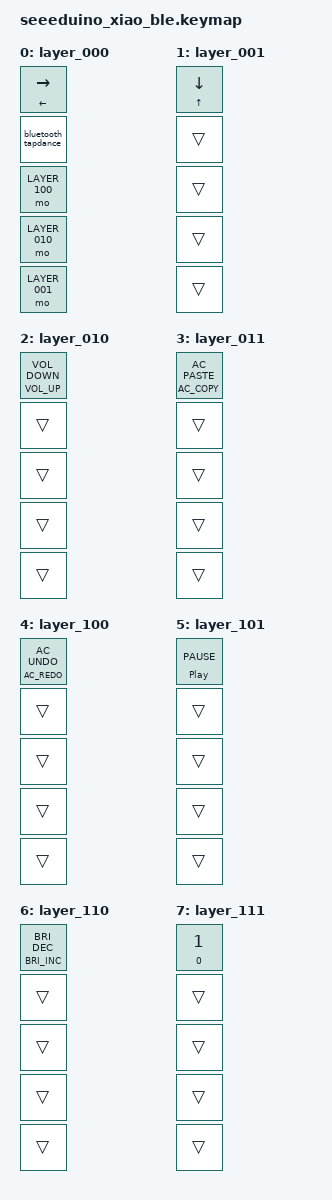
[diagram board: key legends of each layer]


#include <behaviors.dtsi>
#include <dt-bindings/zmk/keys.h>
#include <dt-bindings/zmk/bt.h>
#include <dt-bindings/zmk/matrix_transform.h>

// Mode layer numbers
#define LAYER_000 0
#define LAYER_001 1
#define LAYER_010 2
#define LAYER_011 3
#define LAYER_100 4
#define LAYER_101 5
#define LAYER_110 6
#define LAYER_111 7

// Pinout
#define GPIO_PEDAL 10
#define GPIO_BLUETOOTH 0
#define GPIO_LAYER1 9
#define GPIO_LAYER2 8
#define GPIO_LAYER3 7

// Key bindings for different modes
#define L0_HOLD     LEFT_ARROW
#define L0_TAP      RIGHT_ARROW

#define L1_HOLD     UP_ARROW
#define L1_TAP      DOWN_ARROW

#define L2_HOLD     C_VOLUME_UP
#define L2_TAP      C_VOLUME_DOWN

#define L3_HOLD     C_AC_COPY
#define L3_TAP      C_AC_PASTE

#define L4_HOLD     C_AC_REDO
#define L4_TAP      C_AC_UNDO

#define L5_HOLD     C_PLAY_PAUSE
#define L5_TAP      C_PAUSE

#define L6_HOLD     C_BRIGHTNESS_INC
#define L6_TAP      C_BRIGHTNESS_DEC

#define L7_HOLD     N0
#define L7_TAP      N1


&mt {
    tapping-term-ms = <300>;
};

/ {

    macros {
        // Simple macros that call BT_CLR and BT_SEL 0 respectively, so they can be used in a hold-tap
        macro_bt_clr: macro_bt_clr {
            label = "ZM_macro_bt_clr";
            compatible = "zmk,behavior-macro";
            #binding-cells = <0>;
            bindings = <&bt BT_CLR>;
        };
        macro_bt_sel0: macro_bt_sel0 {
            label = "ZM_macro_bt_sel0";
            compatible = "zmk,behavior-macro";
            #binding-cells = <0>;
            bindings = <&bt BT_SEL 0>;
        };
    };

    behaviors {
        // bt_ht: Hold bluetooth button to clear profile, tap to select profile 0
        bt_ht: bluetooth_hold_tap {
           compatible = "zmk,behavior-hold-tap";
           label = "BLUETOOTH_HOLD_TAP";
           #binding-cells = <2>;
           tapping-term-ms = <2000>;
           bindings = <&macro_bt_clr &macro_bt_sel0>;
        };
        // bluetooth_tapdance: number of taps = select profile. hold button = clear profile
        bluetooth_tapdance: tap_dance_mod_tap {
            compatible = "zmk,behavior-tap-dance";
            label = "TAP_DANCE_MOD_TAP";
            #binding-cells = <0>;
            tapping-term-ms = <200>;
            bindings = <&bt_ht 0 0>, <&bt BT_SEL 1>, <&bt BT_SEL 2>, <&bt BT_SEL 3>, <&bt BT_SEL 4>;
        };
    };

    chosen {
        zmk,kscan = &kscan0;
        zmk,matrix_transform = &default_transform;
    };

    kscan0: kscan_0 {
        compatible = "zmk,kscan-gpio-direct";
        label = "KSCAN0";

        input-gpios = <
            &xiao_d GPIO_PEDAL (GPIO_ACTIVE_LOW | GPIO_PULL_UP) 
            &xiao_d GPIO_BLUETOOTH (GPIO_ACTIVE_LOW | GPIO_PULL_UP)
            &xiao_d GPIO_LAYER1 (GPIO_ACTIVE_LOW | GPIO_PULL_UP) 
            &xiao_d GPIO_LAYER2 (GPIO_ACTIVE_LOW | GPIO_PULL_UP) 
            &xiao_d GPIO_LAYER3 (GPIO_ACTIVE_LOW | GPIO_PULL_UP) 
        >;
    };


    // direct kscan needs a matrix transform, apparently. 
    default_transform: matrix_transform {
        compatible = "zmk,matrix-transform";
        rows = <3>;
        columns = <1>;
        map = <
            RC(0,0)
            RC(0,1)
            RC(0,2)
            RC(0,3)
            RC(0,4)
        >;
    };

    // Using conditional layers to switch between different modes.
    // Layer 001, 010, 100 are directly activated from layer 000 by "pressing" the button (/flipping the switch)
    // if multiple of those layers are active, conditional layers activate the combination of those.
    // Priorisation is handled by the ordering of layers (probably), so since 111 is last, it always takes precendent.
    conditional_layers {
        compatible = "zmk,conditional-layers";
        cond_011 {
            if-layers = <LAYER_001 LAYER_010>;
            then-layer = <LAYER_011>;
        };
        cond_110 {
            if-layers = <LAYER_100 LAYER_010>;
            then-layer = <LAYER_110>;
        };
        cond_101 {
            if-layers = <LAYER_100 LAYER_001>;
            then-layer = <LAYER_101>;
        };
        cond_111 {
            if-layers = <LAYER_100 LAYER_010 LAYER_001>;
            then-layer = <LAYER_111>;
        };
    };

    // Key 1 = mod-tap for holding and tapping the pedal
    // Key 2 = Bluetooth config (tap = select, hold = clear)
    // Key 3-5 = Mode select
    // Key 1 is redefined in each layer (= for each mode), but keys 2-5 are only defined in layer_000, transparent everywhere else.
    keymap {
        compatible = "zmk,keymap";
        layer_000 {
            bindings = <
                &mt L0_HOLD L0_TAP
                &bluetooth_tapdance
                &mo LAYER_100
                &mo LAYER_010
                &mo LAYER_001
            >;
        };
        layer_001 {
            bindings = <
                &mt L1_HOLD L1_TAP
                &trans &trans &trans &trans
            >;
        };
        layer_010 {
            bindings = <
                &mt L2_HOLD L2_TAP
                &trans &trans &trans &trans
            >;
        };
        layer_011 {
            bindings = <
                &mt L3_HOLD L3_TAP
                &trans &trans &trans &trans
            >;
        };
        layer_100 {
            bindings = <
                &mt L4_HOLD L4_TAP
                &trans &trans &trans &trans
            >;
        };
        layer_101 {
            bindings = <
                &mt L5_HOLD L5_TAP
                &trans &trans &trans &trans
            >;
        };
        layer_110 {
            bindings = <
                &mt L6_HOLD L6_TAP
                &trans &trans &trans &trans
            >;
        };
        layer_111 {
            bindings = <
                &mt L7_HOLD L7_TAP
                &trans &trans &trans &trans
            >;
        };
    };
};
